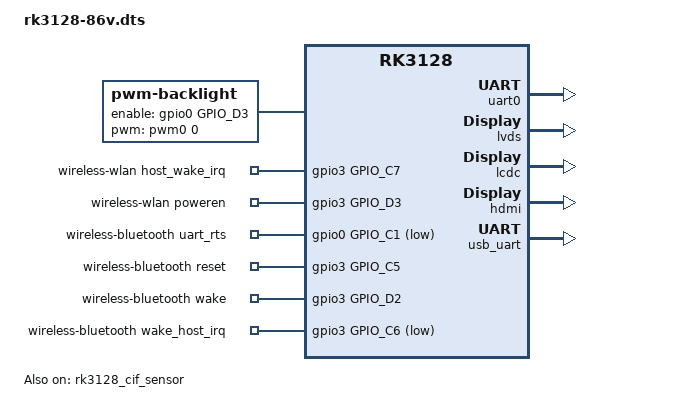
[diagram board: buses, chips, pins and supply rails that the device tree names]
/dts-v1/;

#include "rk3128.dtsi"
#include "rk3128-cif-sensor.dtsi"
#include "rk312x-sdk.dtsi"
#include "lcd-b080xan03.0-mipi.dtsi"

/ {
	 compatible = "rockchip,rk3128";
        backlight: backlight {
                compatible = "pwm-backlight";
                pwms = <&pwm0 0 25000>;
                brightness-levels = <0 1 2 3 4 5 6 7 8 9 10 11 12 13 14 15 16 17 18 19 20 21 22 23 24 25 26 27 28 29 30 31 32 33 34 35 36 37 38 39 40 41 42 43 44 45 46 47 48 49 50 51 52 53 54 55 56 57 58 59 60 61 62 63 64 65 66 67 68 69 70 71 72 73 74 75 76 77 78 79 80 81 82 83 84 85 86 87 88 89 90 91 92 93 94 95 96 97 98 99 100 101 102 103 104 105 106 107 108 109 110 111 112 113 114 115 116 117 118 119 120 121 122 123 124 125 126 127 128 129 130 131 132 133 134 135 136 137 138 139 140 141 142 143 144 145 146 147 148 149 150 151 152 153 154 155 156 157 158 159 160 161 162 163 164 165 166 167 168 169 170 171 172 173 174 175 176 177 178 179 180 181 182 183 184 185 186 187 188 189 190 191 192 193 194 195 196 197 198 199 200 201 202 203 204 205 206 207 208 209 210 211 212 213 214 215 216 217 218 219 220 221 222 223 224 225 226 227 228 229 230 231 232 233 234 235 236 237 238 239 240 241 242 243 244 245 246 247 248 249 250 251 252 253 254 255>;
                default-brightness-level = <128>;
                enable-gpios = <&gpio0 GPIO_D3 GPIO_ACTIVE_HIGH>;
        };

	usb_control {
		compatible = "rockchip,rk3126-usb-control";

		//host_drv_gpio = <&gpio3 GPIO_C4 GPIO_ACTIVE_LOW>;
		//otg_drv_gpio = <&gpio3 GPIO_C1 GPIO_ACTIVE_LOW>;

		rockchip,remote_wakeup;
		rockchip,usb_irq_wakeup;
	};
	wireless-wlan {
		compatible = "wlan-platdata";

		/* wifi_chip_type - wifi chip define
                 * ap6210, ap6330, ap6335
                 * rtl8188eu, rtl8723bs, rtl8723bu
                 * esp8089
		*/
		wifi_chip_type = "ap6181";
		sdio_vref = <1800>; //1800mv or 3300mv

		//	power_ctrl_by_pmu;
		// 	pmu_regulator = "act_ldo3";
		// 	pmu_enable_level = <1>; //1->HIGH, 0->LOW
		/* WIFI_HOST_WAKE = GPIO3_C7 */
		WIFI,host_wake_irq = <&gpio3 GPIO_C7 GPIO_ACTIVE_HIGH>;
		/* WIFI_REG_ON 	= GPIO3_D3 */
		WIFI,poweren_gpio  = <&gpio3 GPIO_D3 GPIO_ACTIVE_HIGH>;

		status = "okay";
	};
	wireless-bluetooth {
		compatible = "bluetooth-platdata";

		//wifi-bt-power-toggle;

		uart_rts_gpios = <&gpio0 GPIO_C1 GPIO_ACTIVE_LOW>;
		pinctrl-names = "default","rts_gpio";
		pinctrl-0 = <&uart0_rts>;
		pinctrl-1 = <&uart0_rts_gpio>;


		/* BT_HOST_WAKE = GPIO3_C6 */
		/* BT_RST 		= GPIO3_C5 */
		/* BT_WAKE 		= GPIO3_D2 */
		//BT,power_gpio = <&gpio4 GPIO_D3 GPIO_ACTIVE_HIGH>;
		BT,reset_gpio = <&gpio3 GPIO_C5 GPIO_ACTIVE_HIGH>;
		BT,wake_gpio = <&gpio3 GPIO_D2 GPIO_ACTIVE_HIGH>;
		BT,wake_host_irq = <&gpio3 GPIO_C6 GPIO_ACTIVE_LOW>;

		status = "okay";
	};

	rockchip_suspend: rockchip_suspend {
                           rockchip,ctrbits = <
                           (0
                           |RKPM_CTR_PWR_DMNS
                           |RKPM_CTR_GTCLKS
                           |RKPM_CTR_PLLS
                           |RKPM_CTR_ARMOFF_LPMD
                           |RKPM_CTR_IDLESRAM_MD
                           |RKPM_CTR_DDR
                   //        |RKPM_CTR_VOLTS
                           |RKPM_CTR_BUS_IDLE
                   //        |RKPM_CTR_VOL_PWM1
                           )
                   >;
          rockchip,pmic-suspend_gpios = <GPIO3_C1>;
     };

};

&gmac{
	status = "disabled";
};

&uart0 {
        status = "okay";
        dma-names = "!tx", "!rx";
        pinctrl-0 = <&uart0_xfer &uart0_cts>;
};

&rk818 { /* PMIC_INT == GPIO1_B1 				PMIC_SLEEP == GPIO3_C1*/
    gpios =<&gpio1 GPIO_B1 GPIO_ACTIVE_HIGH>,<&gpio3 GPIO_C1 GPIO_ACTIVE_LOW>;
};
/*
&rk818_dcdc3_reg{
	regulator-name= "vcc_ddr";
};

&rk818_ldo1_reg{
	regulator-name= "vcc_tp";
};
*/



&fb {
	rockchip,disp-mode = <ONE_DUAL>;
	rockchip,uboot-logo-on = <0>;
};

&rk_screen {
	display-timings = <&disp_timings>;
};

&lvds {
	status = "okay";

	pinctrl-names = "lcdc";
	pinctrl-0 = <&lcdc0_lcdc_d>;
};

&lcdc {
	status = "okay";

	backlight = <&backlight>;
	pinctrl-names = "default", "gpio";
	pinctrl-0 = <&lcdc0_lcdc>;
	pinctrl-1 = <&lcdc0_gpio>;

	rockchip,fb-win-map = <FB_DEFAULT_ORDER>;
	power_ctr: power_ctr {
		rockchip,debug = <0>;
		lcd_cs: lcd_cs {
			rockchip,power_type = <GPIO>;
			gpios = <&gpio0 GPIO_D0 GPIO_ACTIVE_HIGH>;
			rockchip,delay = <10>;
		};
		lcd_en: lcd_en {
			rockchip,power_type = <GPIO>;
			gpios = <&gpio1 GPIO_B4 GPIO_ACTIVE_HIGH>;
			rockchip,delay = <10>;
		};	
	};
};

&hdmi {
        status = "okay"; //"disabled";
};

&sdmmc {/* SDMMC_DET = GPIO1_C1 */
	cd-gpios = <&gpio1 GPIO_C1 GPIO_ACTIVE_HIGH>;/*CD GPIO*/
    status = "disabled";
};

&dwc_control_usb {
	usb_uart {
		status = "ok";
	};
};

&codec {
	spk_ctl_io = <&gpio0 GPIO_D6 GPIO_ACTIVE_HIGH>;
        spk-mute-delay = <200>;
        hp-mute-delay = <100>;
        rk312x_for_mid = <1>;
        is_rk3128 = <1>;
        spk_volume = <25>;
        hp_volume = <25>;
        capture_volume = <26>;
        gpio_debug = <0>;
        codec_hp_det = <0>;
};

&rk3128_cif_sensor{
	status = "okay";
};


&clk_core_dvfs_table {
	operating-points = <
		/* KHz    uV */
		216000 925000
		408000 925000
		600000 950000
		696000 1200000
		816000 1250000
		1008000 1375000
	//	1200000 1400000
	//	1296000 1350000
	//	1320000 1375000
		>;
	status="okay";
};

&clk_gpu_dvfs_table {
	operating-points = <
		/* KHz    uV */
		200000 1000000
		300000 1025000
		400000 1125000
		//480000 1175000
		>;
	status="okay";
};

&clk_ddr_dvfs_table {
	operating-points = <
		/* KHz    uV */
		//200000 950000
		//300000 950000
		336000 1200000
		//533000 1200000
		>;

	freq-table = <
		/*status		freq(KHz)*/
		SYS_STATUS_NORMAL	336000
		SYS_STATUS_SUSPEND	336000
		SYS_STATUS_VIDEO_1080P  336000
		SYS_STATUS_VIDEO_4K     336000
		SYS_STATUS_PERFORMANCE  336000
		SYS_STATUS_DUALVIEW	336000
		SYS_STATUS_BOOST	336000
		SYS_STATUS_ISP		336000
		>;
	auto-freq-table = <
		240000
		324000
		396000
		528000
		>;
	auto-freq=<0>;
	status="okay";
};
